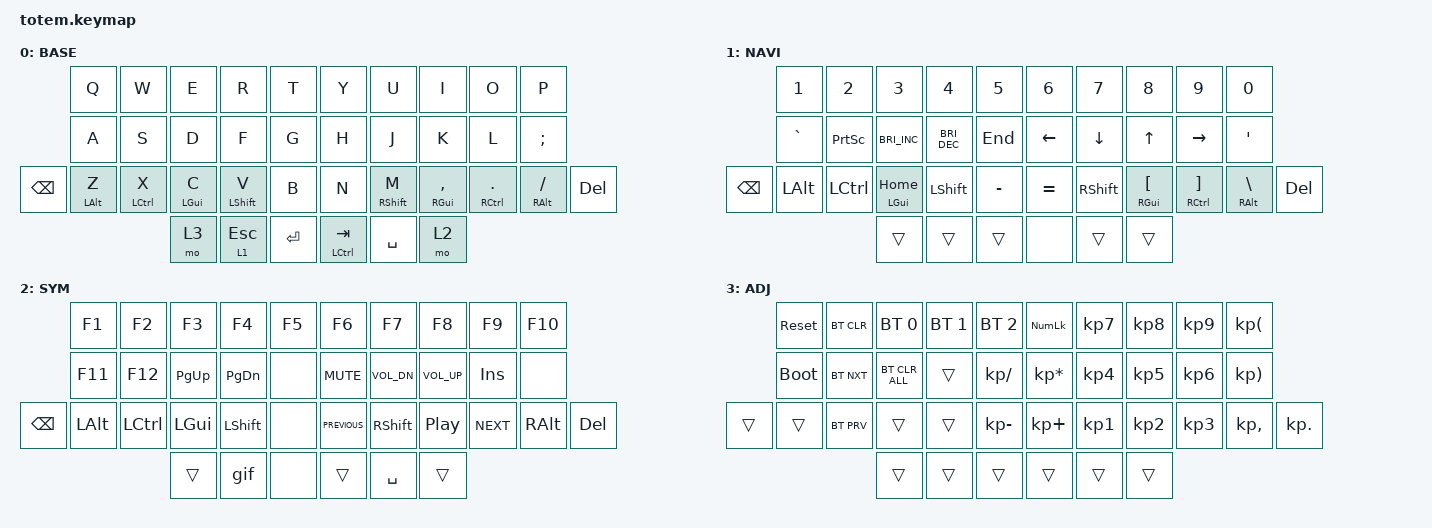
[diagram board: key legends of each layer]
//
//                                                        ▀▀▀▀▀     ▀▀▀▀▀          ▀▀█▀▀
//                                                        ▄▀▀▀▄  ▄  ▄▀▀▀▄  ▄  ▄▀▀▀▄  █  ▄▀▀▀▄
//                                                        █   █  █  █   █  █  █   █  █  █   █
//                                                         ▀▀▀   █   ▀▀▀   █   ▀▀▀   ▀   ▀▀▀
//                                                               █      ▄▄▄█▄▄▄    █   █  
//                                                               ▀      █  █  █     █▄█
//                                                             ▀▀▀▀▀    █  █  █      ▀
//                                                                      ▀  ▀  ▀
//
// ▄▄▄▄▄▄▄▄▄▄▄▄▄▄▄▄▄▄▄▄▄▄▄▄▄▄▄▄▄▄▄▄▄▄▄▄▄▄▄▄▄▄▄▄▄▄▄▄▄▄▄▄▄▄▄▄▄▄▄▄▄▄▄▄▄▄▄▄▄▄▄▄▄▄▄▄▄▄▄▄▄▄▄▄▄▄▄▄▄▄▄▄▄▄▄▄▄▄▄▄▄▄▄▄▄▄▄▄▄▄▄▄▄▄▄▄▄▄▄▄▄▄▄▄▄▄▄▄▄▄▄▄▄▄▄▄▄▄▄▄▄▄▄▄▄▄▄▄▄

#include <behaviors.dtsi>
#include <dt-bindings/zmk/bt.h>
#include <dt-bindings/zmk/keys.h>

#define BASE 0
#define NAV  1
#define SYM  2
#define ADJ  3
#define TVP1 4
#define TVP2 5

&mt {
    quick-tap-ms = <100>;
    global-quick-tap;
    flavor = "tap-preferred";
    tapping-term-ms = <170>;
};

/ {
    combos {
        compatible = "zmk,combos";

        c1 {
            bindings = <&kp LBKT>;
            key-positions = <3 2>;
        };

        c2 {
            bindings = <&kp RBKT>;
            key-positions = <6 7>;
        };

        c3 {
            bindings = <&kp LPAR>;
            key-positions = <13 12>;
        };

        c4 {
            bindings = <&kp RPAR>;
            key-positions = <16 17>;
        };

        c5 {
            bindings = <&kp LBRC>;
            key-positions = <24 23>;
        };

        c6 {
            bindings = <&kp RBRC>;
            key-positions = <27 28>;
        };

        c7 {
            bindings = <&kp BSLH>;
            key-positions = <4 5>;
        };

        c8 {
            bindings = <&kp PIPE>;
            key-positions = <14 15>;
        };

        c9 {
            bindings = <&kp ENTER>;
            key-positions = <18 19>;
        };

        c10 {
            bindings = <&kp PLUS>;
            key-positions = <17 18>;
        };

        c11 {
            bindings = <&kp KP_MINUS>;
            key-positions = <12 11>;
        };

        c12 {
            bindings = <&kp UNDER>;
            key-positions = <2 1>;
        };

        c13 {
            bindings = <&kp KP_EQUAL>;
            key-positions = <7 8>;
        };

        c14 {
            bindings = <&kp COLON>;
            key-positions = <11 10>;
        };

        c15 {
            bindings = <&kp SQT>;
            key-positions = <4 3>;
        };

        c16 {
            bindings = <&kp DQT>;
            key-positions = <5 6>;
        };

        c17 {
            bindings = <&caps_word>;
            key-positions = <16 13>;
        };
    };

    macros {
        gif: gif {
            label = "giphy";
            compatible = "zmk,behavior-macro";
            #binding-cells = <0>;
            bindings =
                <&macro_press>,
                <&kp LSHFT>,
                <&macro_tap>,
                <&kp N2>,
                <&macro_release>,
                <&kp LSHFT>,
                <&macro_tap>,
                <&kp G &kp I &kp F>;
        };
    };

    behaviors {
        hm: hm {
            compatible = "zmk,behavior-hold-tap";
            label = "HM";
            bindings = <&none>, <&none>;

            #binding-cells = <2>;
            tapping-term-ms = <200>;
            flavor = "tap-preferred";
        };
    };

    keymap {
        compatible = "zmk,keymap";

        base_layer {
            label = "BASE";
            bindings = <
               &kp Q           &kp W        &kp E           &kp R             &kp T         &kp Y          &kp U              &kp I                &kp O          &kp P
               &kp A           &kp S        &kp D           &kp F             &kp G         &kp H          &kp J              &kp K                &kp L          &kp SEMICOLON
&kp BACKSPACE  &mt LEFT_ALT Z  &mt LCTRL X  &mt LEFT_GUI C  &mt LEFT_SHIFT V  &kp B         &kp N          &mt RIGHT_SHIFT M  &mt RIGHT_GUI COMMA  &mt RCTRL DOT  &mt RIGHT_ALT SLASH  &kp DELETE
                                            &mo 3           &lt 1 ESC         &kp RETURN    &mt LCTRL TAB  &kp SPACE          &mo 2
            >;
        };

        nav_layer {
            label = "NAVI";
            bindings = <
               &kp NUMBER_1  &kp NUMBER_2     &kp NUMBER_3          &kp NUMBER_4          &kp N5       &kp NUMBER_6  &kp N7           &kp N8                      &kp N9                   &kp N0
               &kp GRAVE     &kp PRINTSCREEN  &kp C_BRIGHTNESS_INC  &kp C_BRIGHTNESS_DEC  &kp END      &kp LEFT      &kp DOWN         &kp UP                      &kp RIGHT_ARROW          &kp SQT
&kp BACKSPACE  &kp LEFT_ALT  &kp LCTRL        &mt LEFT_GUI HOME     &kp LEFT_SHIFT        &kp MINUS    &kp EQUAL     &kp RIGHT_SHIFT  &mt RIGHT_GUI LEFT_BRACKET  &mt RCTRL RIGHT_BRACKET  &mt RIGHT_ALT BACKSLASH  &kp DELETE
                                              &trans                &trans                &trans       &none         &trans           &trans
            >;
        };

        sim_layer {
            label = "SYM";
            bindings = <
               &kp F1        &kp F2     &kp F3        &kp F4          &kp F5    &kp F6          &kp F7           &kp F8        &kp F9      &kp F10
               &kp F11       &kp F12    &kp PAGE_UP   &kp PAGE_DOWN   &none     &kp C_MUTE      &kp C_VOL_DN     &kp C_VOL_UP  &kp INSERT  &none
&kp BACKSPACE  &kp LEFT_ALT  &kp LCTRL  &kp LEFT_GUI  &kp LEFT_SHIFT  &none     &kp C_PREVIOUS  &kp RIGHT_SHIFT  &kp C_PP      &kp C_NEXT  &kp RIGHT_ALT  &kp DELETE
                                        &trans        &gif            &none     &trans          &kp SPACE        &trans
            >;
        };

        adjust_layer {
            label = "ADJ";
            bindings = <
        &sys_reset   &bt BT_CLR  &bt BT_SEL 0    &bt BT_SEL 1  &bt BT_SEL 2     &kp KP_NUMLOCK   &kp KP_N7  &kp KP_N8  &kp KP_N9  &kp KP_LPAR
        &bootloader  &bt BT_NXT  &bt BT_CLR_ALL  &trans        &kp KP_DIVIDE    &kp KP_MULTIPLY  &kp KP_N4  &kp KP_N5  &kp KP_N6  &kp KP_RPAR
&trans  &trans       &bt BT_PRV  &trans          &trans        &kp KP_MINUS     &kp KP_PLUS      &kp KP_N1  &kp KP_N2  &kp KP_N3  &kp KP_COMMA  &kp KP_DOT
                                 &trans          &trans        &trans           &trans           &trans     &trans
            >;
        };
    };
};
